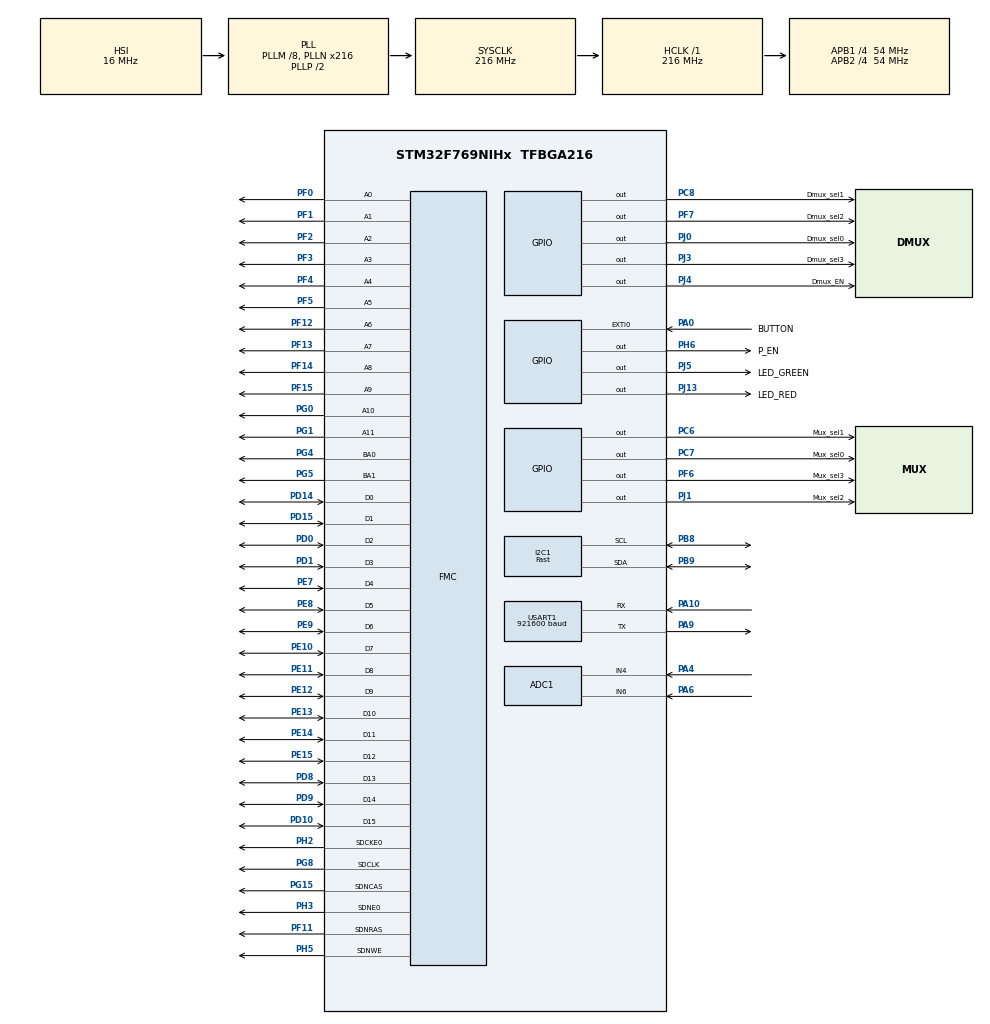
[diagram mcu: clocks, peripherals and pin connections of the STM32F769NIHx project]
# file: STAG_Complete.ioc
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SH.FMC_D7_DA7.0=FMC_D7,sd-16b-d1
STMicroelectronics.X-CUBE-AI.5.0.0.ModelName-4a777269b15ae735e5917de376a15997c86f35e3944f2cdbd16dda3ebaa704af=network
FMC.RCDDelay1=2
NVIC.I2C1_EV_IRQn=true\:4\:1\:true\:false\:true\:true\:true
FMC.SDClockPeriod1=FMC_SDRAM_CLOCK_PERIOD_2
I2C1.I2C_Speed_Mode=I2C_Fast
SH.FMC_A0.0=FMC_A0,12b-sda1
PG8.Signal=FMC_SDCLK
PG4.Signal=FMC_A14_BA0
STMicroelectronics.X-CUBE-AI.5.0.0.NNModelInformation_ModelSize-4a777269b15ae735e5917de376a15997c86f35e3944f2cdbd16dda3ebaa704af=175940
PH6.GPIO_Label=P_EN
PG0.Signal=FMC_A10
FMC.LoadToActiveDelay1=2
CORTEX_M7.PREFETCH_ENABLE=1
PC6.GPIO_Label=Mux_sel1
SH.FMC_D5_DA5.0=FMC_D5,sd-16b-d1
STMicroelectronics.X-CUBE-AI.5.0.0.ModelType-4a777269b15ae735e5917de376a15997c86f35e3944f2cdbd16dda3ebaa704af=Saved model
PF6.GPIO_Label=Mux_sel3
STMicroelectronics.X-CUBE-AI.5.0.0.ModelActualCompression-4a777269b15ae735e5917de376a15997c86f35e3944f2cdbd16dda3ebaa704af=0.0
RCC.SYSCLKSource=RCC_SYSCLKSOURCE_PLLCLK
SH.FMC_A15_BA1.0=FMC_BA1,FourSdramBanks1
SH.FMC_D9_DA9.0=FMC_D9,sd-16b-d1
STMicroelectronics.X-CUBE-AI.5.0.0.StackSize=0x4000
PJ13.GPIO_Label=LED_RED
PH5.Signal=FMC_SDNWE
PF7.Signal=GPIO_Output
SH.FMC_SDNWE.0=FMC_SDNWE,12b-sda1
SH.FMC_D11_DA11.0=FMC_D11,sd-16b-d1
RCC.APB2TimFreq_Value=108000000
PC7.Signal=GPIO_Output
PH1/OSC_OUT.Signal=RCC_OSC_OUT
PD0.Signal=FMC_D2_DA2
PD8.Signal=FMC_D13_DA13
STMicroelectronics.X-CUBE-AI.5.0.0.InternalRamActivationBufferMaxSize=AI_NETWORK_DATA_ACTIVATIONS_SIZE
STMicroelectronics.X-CUBE-AI.5.0.0.NNModelInformation_ModelMacc-4a777269b15ae735e5917de376a15997c86f35e3944f2cdbd16dda3ebaa704af=4761904
STMicroelectronics.X-CUBE-AI.5.0.0.WorkingBufferStartAddrList=0xFFFFFFFF
ADC1.ScanConvMode=ADC_SCAN_ENABLE
FMC.SelfRefreshTime1=4
PE9.Signal=FMC_D6_DA6
SH.FMC_A2.0=FMC_A2,12b-sda1
SH.FMC_D1_DA1.0=FMC_D1,sd-16b-d1
PF3.Signal=FMC_A3
NVIC.I2C1_ER_IRQn=true\:4\:0\:true\:false\:true\:true\:true
PE10.Signal=FMC_D7_DA7
ADC1.SamplingTime-0\#ChannelRegularConversion=ADC_SAMPLETIME_112CYCLES
STMicroelectronics.X-CUBE-AI.5.0.0.ValidationOutputFileHistory-4a777269b15ae735e5917de376a15997c86f35e3944f2cdbd16dda3ebaa704af=/home/fabian/Documents/Master_thesis/C_Code/validation_data/label2_small.csv,/home/fabian/Documents/Master_thesis/C_Code/validation_data/real_labels.csv
Mcu.Package=TFBGA216
PB9.Signal=I2C1_SDA
STMicroelectronics.X-CUBE-AI.5.0.0.MaximumSizeOfInputLayer=4096
PJ4.Signal=GPIO_Output
PA10.Signal=USART1_RX
TIM7.AutoReloadPreload=TIM_AUTORELOAD_PRELOAD_ENABLE
FMC.WriteRecoveryTime1=2
SH.FMC_A1.0=FMC_A1,12b-sda1
PH2.Signal=FMC_SDCKE0
RCC.APB2CLKDivider=RCC_HCLK_DIV4
SH.FMC_SDCLK.0=FMC_SDCLK,12b-sda1
PF14.Signal=FMC_A8
RCC.APB1TimFreq_Value=108000000
FMC.RowCycleDelay1=6
NVIC.USART1_IRQn=true\:3\:0\:true\:false\:true\:true\:true
PD15.Signal=FMC_D1_DA1
SH.FMC_D3_DA3.0=FMC_D3,sd-16b-d1
PJ1.GPIO_Label=Mux_sel2
SH.FMC_A4.0=FMC_A4,12b-sda1
ADC1.Rank-0\#ChannelRegularConversion=1
SH.ADCx_IN6.0=ADC1_IN6,IN6
PG5.Signal=FMC_A15_BA1
SH.FMC_D10_DA10.0=FMC_D10,sd-16b-d1
STMicroelectronics.X-CUBE-AI.5.0.0.XAaCUBEAaAICcArtificialOoIntelligenceJjCore=true
STMicroelectronics.X-CUBE-AI.5.0.0.ModelKind-4a777269b15ae735e5917de376a15997c86f35e3944f2cdbd16dda3ebaa704af=ONNX
PC6.Signal=GPIO_Output
PD1.Signal=FMC_D3_DA3
RCC.APB1CLKDivider=RCC_HCLK_DIV4
VP_STMicroelectronics.X-CUBE-AI_VS_ArtificialOoIntelligenceJjXAaCUBEAaAI_5.0.0.Mode=ArtificialOoIntelligenceJjXAaCUBEAaAI
PD10.Signal=FMC_D15_DA15
SH.FMC_A3.0=FMC_A3,12b-sda1
PJ3.Signal=GPIO_Output
FMC.CASLatency1=FMC_SDRAM_CAS_LATENCY_2
SH.FMC_D15_DA15.0=FMC_D15,sd-16b-d1
CORTEX_M7.ART_ACCLERATOR_ENABLE=1
PA9.Signal=USART1_TX
STMicroelectronics.X-CUBE-AI.5.0.0.NNModelInformation_AchievedCompression-4a777269b15ae735e5917de376a15997c86f35e3944f2cdbd16dda3ebaa704af=0.0
I2C1.Timing=0x6000030D
PJ4.GPIO_Label=Dmux_EN
SH.FMC_A6.0=FMC_A6,12b-sda1
PE14.Signal=FMC_D11_DA11
PE15.Signal=FMC_D12_DA12
STMicroelectronics.X-CUBE-AI.5.0.0.NNModelInformation_CompressionFactor-4a777269b15ae735e5917de376a15997c86f35e3944f2cdbd16dda3ebaa704af=0.0
PE8.Signal=FMC_D5_DA5
PA0/WKUP.GPIO_Label=BUTTON
STMicroelectronics.X-CUBE-AI.5.0.0.ModelCompression-4a777269b15ae735e5917de376a15997c86f35e3944f2cdbd16dda3ebaa704af=1
SH.ADCx_IN4.0=ADC1_IN4,IN4
PF13.Signal=FMC_A7
SH.FMC_SDNCAS.0=FMC_SDNCAS,12b-sda1
PC7.GPIO_Label=Mux_sel0
ADC1.SamplingTime-1\#ChannelRegularConversion=ADC_SAMPLETIME_112CYCLES
PA4.Signal=ADCx_IN4
ADC1.master=1
ADC1.Rank-1\#ChannelRegularConversion=2
SH.FMC_A5.0=FMC_A5,12b-sda1
PJ0.GPIO_Label=Dmux_sel0
ProjectManager.HeapSize=0x2000
PH6.Signal=GPIO_Output
VP_STMicroelectronics.X-CUBE-AI_VS_ArtificialOoIntelligenceJjApplication_5.0.0.Mode=ArtificialOoIntelligenceJjApplication
NVIC.PriorityGroup=NVIC_PRIORITYGROUP_3
STMicroelectronics.X-CUBE-AI.5.0.0.ModelHashList=4a777269b15ae735e5917de376a15997c86f35e3944f2cdbd16dda3ebaa704af
PB8.Mode=I2C
PF4.Signal=FMC_A4
STMicroelectronics.X-CUBE-AI.5.0.0.ModelNameList=network
Mcu.Family=STM32F7
STMicroelectronics.X-CUBE-AI.5.0.0.ModelMacc-4a777269b15ae735e5917de376a15997c86f35e3944f2cdbd16dda3ebaa704af=4761904
SH.FMC_A8.0=FMC_A8,12b-sda1
RCC.CortexFreq_Value=216000000
SH.FMC_D14_DA14.0=FMC_D14,sd-16b-d1
STMicroelectronics.X-CUBE-AI.5.0.0.ModelFlashOccupation-4a777269b15ae735e5917de376a15997c86f35e3944f2cdbd16dda3ebaa704af=175940
USART1.BaudRate=921600
SH.FMC_D6_DA6.0=FMC_D6,sd-16b-d1
PA0/WKUP.Signal=GPXTI0
SH.FMC_A14_BA0.0=FMC_BA0,FourSdramBanks1
SH.FMC_A11.0=FMC_A11,12b-sda1
PG15.Signal=FMC_SDNCAS
PJ5.GPIO_Label=LED_GREEN
ProjectManager.StackSize=0x4000
PH3.Mode=SdramChipSelect1_1
VP_TIM7_VS_ClockSourceINT.Mode=Enable_Timer
NVIC.ADC_IRQn=true\:2\:1\:true\:false\:true\:true\:true
SH.FMC_A7.0=FMC_A7,12b-sda1
PH0/OSC_IN.Mode=HSE-External-Oscillator
RCC.HCLKFreq_Value=216000000
PF12.Signal=FMC_A6
TIM7.Period=1349
STMicroelectronics.X-CUBE-AI.5.0.0.ModelStructureFile-4a777269b15ae735e5917de376a15997c86f35e3944f2cdbd16dda3ebaa704af=/home/fabian/Documents/Master_thesis/Python_Code/models/onnx/final_model.onnx
SH.FMC_A10.0=FMC_A10,12b-sda1
RCC.AHBFreq_Value=216000000
ADC1.Channel-0\#ChannelRegularConversion=ADC_CHANNEL_4
RCC.HSE_VALUE=25000000
SH.FMC_D8_DA8.0=FMC_D8,sd-16b-d1
FMC.ExitSelfRefreshDelay1=6
FMC.RPDelay1=2
STMicroelectronics.X-CUBE-AI.5.0.0.NNModelInformation_NbOfParameters-4a777269b15ae735e5917de376a15997c86f35e3944f2cdbd16dda3ebaa704af=43985
STMicroelectronics.X-CUBE-AI.5.0.0.NNModelInformation_ModelRam-4a777269b15ae735e5917de376a15997c86f35e3944f2cdbd16dda3ebaa704af=49152
STMicroelectronics.X-CUBE-AI.5.0.0.NNModelInformation_ModelRom-4a777269b15ae735e5917de376a15997c86f35e3944f2cdbd16dda3ebaa704af=175940
SH.FMC_D2_DA2.0=FMC_D2,sd-16b-d1
PE13.Signal=FMC_D10_DA10
PF7.GPIO_Label=Dmux_sel2
STMicroelectronics.X-CUBE-AI.5.0.0.LatestDirectoryUsed-4a777269b15ae735e5917de376a15997c86f35e3944f2cdbd16dda3ebaa704af=/home/fabian/Documents/Master_thesis/Python_Code/models/onnx
PF11.Signal=FMC_SDNRAS
STMicroelectronics.X-CUBE-AI.5.0.0.NNModelInformation_HeapSizeNeeded-4a777269b15ae735e5917de376a15997c86f35e3944f2cdbd16dda3ebaa704af=3072
TIM6.Period=65535
SH.FMC_SDNRAS.0=FMC_SDNRAS,12b-sda1
PH1/OSC_OUT.Mode=HSE-External-Oscillator
STMicroelectronics.X-CUBE-AI.5.0.0.NNModelInformation_ModelOutSizeByName-4a777269b15ae735e5917de376a15997c86f35e3944f2cdbd16dda3ebaa704af={output\=68}
STMicroelectronics.X-CUBE-AI.5.0.0.MaximumNumberOfInputLayer=1
PA6.Signal=ADCx_IN6
SH.FMC_D0_DA0.0=FMC_D0,sd-16b-d1
SH.FMC_A9.0=FMC_A9,12b-sda1
STMicroelectronics.X-CUBE-AI.5.0.0.ValidationInputFileHistory-4a777269b15ae735e5917de376a15997c86f35e3944f2cdbd16dda3ebaa704af=/home/fabian/Documents/Master_thesis/C_Code/validation_data/data2_small.csv,/home/fabian/Documents/Master_thesis/C_Code/validation_data/real_data.csv,/home/fabian/Documents/Master_thesis/C_Code/validation_data/real_data.csv
SH.FMC_D4_DA4.0=FMC_D4,sd-16b-d1
PJ1.Signal=GPIO_Output
PF5.Signal=FMC_A5
RCC.PLLSAIQ=3
PJ3.GPIO_Label=Dmux_sel3
PF0.Signal=FMC_A0
PE7.Signal=FMC_D4_DA4
PH2.Mode=SdramChipSelect1_1
STMicroelectronics.X-CUBE-AI.5.0.0.MaximumSizeOfOutputLayer=68
NVIC.TIM7_IRQn=true\:1\:1\:true\:false\:true\:true\:true
CORTEX_M7.CPU_ICache=Enabled
STMicroelectronics.X-CUBE-AI.5.0.0.HeapSize=0x2000
PA10.Mode=Asynchronous
PG1.Signal=FMC_A11
STMicroelectronics.X-CUBE-AI.5.0.0.MaximumNumberOfOutputLayer=1
STMicroelectronics.X-CUBE-AI.5.0.0.ModelRamOccupation-4a777269b15ae735e5917de376a15997c86f35e3944f2cdbd16dda3ebaa704af=49152
PC8.Signal=GPIO_Output
TIM6.Prescaler=107
VP_TIM6_VS_ClockSourceINT.Mode=Enable_Timer
ADC1.DiscontinuousConvMode=ENABLE
PD9.Signal=FMC_D14_DA14
STMicroelectronics.X-CUBE-AI.5.0.0.NNModelInformation_EvaluationStatus-4a777269b15ae735e5917de376a15997c86f35e3944f2cdbd16dda3ebaa704af=NOT EVALUATED
PC8.GPIO_Label=Dmux_sel1
USART1.VirtualMode-Asynchronous=VM_ASYNC
TIM6.AutoReloadPreload=TIM_AUTORELOAD_PRELOAD_ENABLE
PA9.Mode=Asynchronous
PF6.Signal=GPIO_Output
ProjectManager.TargetToolchain=Makefile
SH.FMC_D13_DA13.0=FMC_D13,sd-16b-d1
PB9.Mode=I2C
ADC1.Channel-1\#ChannelRegularConversion=ADC_CHANNEL_6
PF2.Signal=FMC_A2
STMicroelectronics.X-CUBE-AI.5.0.0.ApplicationCcArtificialOoIntelligenceJjApplication=ApplicationTemplate
RCC.USBFreq_Value=108000000
PE11.Signal=FMC_D8_DA8
RCC.LSE_VALUE=32768
TIM7.Prescaler=9999
board=STM32F769I-DISC1
RCC.VCOOutputFreq_Value=432000000
ADC1.NbrOfDiscConversion=2
PH0/OSC_IN.Signal=RCC_OSC_IN
RCC.APB2Freq_Value=54000000
SH.FMC_D12_DA12.0=FMC_D12,sd-16b-d1
PF15.Signal=FMC_A9
STMicroelectronics.X-CUBE-AI.5.0.0.ActivationBufferSizeList=49152
PF1.Signal=FMC_A1
ADC1.NbrOfConversion=2
PJ0.Signal=GPIO_Output
Mcu.Name=STM32F769NIHx
PE12.Signal=FMC_D9_DA9
PD14.Signal=FMC_D0_DA0
STMicroelectronics.X-CUBE-AI.5.0.0.NNModelInformation_ModelInSizeByName-4a777269b15ae735e5917de376a15997c86f35e3944f2cdbd16dda3ebaa704af={input\=4096}
NVIC.EXTI0_IRQn=true\:2\:0\:true\:false\:true\:true\:true
RCC.SYSCLKFreq_VALUE=216000000
USART1.OverSampling=UART_OVERSAMPLING_8
PJ5.Signal=GPIO_Output
RCC.HSI_VALUE=16000000
RCC.PLLQ=4
ADC1.NbrOfConversionFlag=1
PH3.Signal=FMC_SDNE0
RCC.PLLM=8
RCC.PLLN=216
PB8.Signal=I2C1_SCL
STMicroelectronics.X-CUBE-AI.5.0.0.NNModelInformation_ModelName-4a777269b15ae735e5917de376a15997c86f35e3944f2cdbd16dda3ebaa704af=network
CORTEX_M7.CPU_DCache=Enabled
RCC.APB1Freq_Value=54000000
VP_CRC_VS_CRC.Mode=CRC_Activate
PJ13.Signal=GPIO_Output

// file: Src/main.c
/* USER CODE BEGIN Header */
/**
  ******************************************************************************
  * @file           : main.c
  * @brief          : Main program body
  ******************************************************************************
  * @attention
  *
  * <h2><center>&copy; Copyright (c) 2020 STMicroelectronics.
  * All rights reserved.</center></h2>
  *
  * This software component is licensed by ST under Ultimate Liberty license
  * SLA0044, the "License"; You may not use this file except in compliance with
  * the License. You may obtain a copy of the License at:
  *                             www.st.com/SLA0044
  *
  ******************************************************************************
  */
/* USER CODE END Header */

#include "main.h"
#include "app_x-cube-ai.h"

/* USER CODE BEGIN Includes */
#include "readout_driver.h"
#include "MPU9250.h"

// needed to retarget stdio
#include <stdio.h>
#include <errno.h>
#include <sys/unistd.h>

#include <stdbool.h>
/* USER CODE END Includes */

CRC_HandleTypeDef hcrc;

TIM_HandleTypeDef htim7;

UART_HandleTypeDef huart1;

SDRAM_HandleTypeDef hsdram1;

/* USER CODE BEGIN PV */
uint16_t tactileData[DATA_SIZE];
volatile bool collect_data = false;
volatile bool button = false;
HAL_StatusTypeDef status;

//uint16_t pre_tick;
uint16_t post_tick;

FMC_SDRAM_CommandTypeDef command;

uint16_t frame_count = 0;

float accData[3];
float magData[3];
float gyroData[3];

ai_float tactileData_scaled[DATA_SIZE];
const uint16_t tactile_shift = 1500;
const float tactile_scale = 1/(2000.0 - 1500.0);
uint8_t pred_class;

char class_names[17][15] =  {
                              //"Allen key set ",
                              "Ball          ",
                              "Battery       ",
                              //"Board eraser  ",
                              "Bracket       ",
                              //"Brain         ",
                              //"Cat           ",
                              //"Chain         ",
                              //"Clip          ",
                              "Coin          ",
                              "Empty can     ",
                              "Empty hand    ",
                              "Full can      ",
                              "Gel           ",
                              //"Kiwano        ",
                              "Lotion        ",
                              "Mug           ",
                              //"Multimeter    ",
                              "Pen           ",
                              "Safety glasses",
                              "Scissors      ",
                              "Screwdriver   ",
                              //"Spoon         ",
                              "Spray can     ",
                              "Stapler       ",
                              "Tape          ",
                              //"Teabox        "
                            };
/* USER CODE END PV */

void SystemClock_Config(void);
static void MX_GPIO_Init(void);
static void MX_ADC1_Init(void);
static void MX_USART1_UART_Init(void);
static void MX_FMC_Init(void);
static void MX_I2C1_Init(void);
static void MX_TIM6_Init(void);
static void MX_TIM7_Init(void);
static void MX_CRC_Init(void);
/* USER CODE BEGIN PFP */
void HAL_GPIO_EXTI_Callback(uint16_t GPIO_Pin);
void HAL_TIM_PeriodElapsedCallback(TIM_HandleTypeDef *htim);
int _write(int fd, char *buff, int count);
static void BSP_SDRAM_Initialization_Sequence(SDRAM_HandleTypeDef *hsdram, FMC_SDRAM_CommandTypeDef *Command);
/* USER CODE END PFP */

int main(void)
{

  /* Enable I-Cache---------------------------------------------------------*/
  SCB_EnableICache();

  /* Enable D-Cache---------------------------------------------------------*/
  SCB_EnableDCache();

  /* MCU Configuration--------------------------------------------------------*/

  /* Reset of all peripherals, Initializes the Flash interface and the Systick. */
  HAL_Init();

  /* Configure the system clock */
  SystemClock_Config();

  /* Initialize all configured peripherals */
  MX_GPIO_Init();
  MX_ADC1_Init();
  MX_USART1_UART_Init();
  MX_FMC_Init();
  MX_I2C1_Init();
  MX_TIM6_Init();
  MX_TIM7_Init();
  MX_CRC_Init();
  MX_X_CUBE_AI_Init();
  /* USER CODE BEGIN 2 */
  MPU9250_Init();
  //BSP_SDRAM_Initialization_Sequence(&hsdram1, &command);
  HAL_TIM_Base_Start(&htim6);
  //HAL_TIM_Base_Start(&htim7);
  /* USER CODE END 2 */

  /* Infinite loop */
  /* USER CODE BEGIN WHILE */
  while (1)
  {
    if (collect_data)
    {
      //__HAL_TIM_SET_COUNTER(&htim7, 0);
      status = MPU9250_GetData_Phys(accData, magData, gyroData);
      if (status != HAL_OK)
      {
        Error_Handler();
      }

      __HAL_TIM_SET_COUNTER(&htim6, 0);
      status = Read_Frame(tactileData);
      if (status != HAL_OK)
      {
        Error_Handler();
      }

      /*status = HAL_SDRAM_Write_16b(&hsdram1, (uint32_t *)(SDRAM_BANK_ADDR + frame_count*SDRAM_FRAME_OFFSET), tactileData, DATA_SIZE);
      if (status != HAL_OK)
      {
        Error_Handler();
      }*/
      frame_count++;
      for (int i=0; i<DATA_SIZE; i++)
      {
        ai_float tmp_ = ((float)(tactileData[i] - tactile_shift))*tactile_scale;
        // clip values such that they fall between 0, 1
        tactileData_scaled[i] = AI_CLAMP(tmp_, 0.0, 1.0, ai_float);
      }
      pred_class = MX_X_CUBE_AI_Process(tactileData_scaled);
      printf("Predicted class is: %s\r", class_names[pred_class]);
      fflush(stdout);
      /*post_tick = __HAL_TIM_GET_COUNTER(&htim7);
      printf("Whole loop took %3.1f milliseconds.\n", ((float)(post_tick)*0.092592593));*/
      collect_data = false;
    }
    /* USER CODE END WHILE */

  }
}

void SystemClock_Config(void)
{
  RCC_OscInitTypeDef RCC_OscInitStruct = {0};
  RCC_ClkInitTypeDef RCC_ClkInitStruct = {0};
  RCC_PeriphCLKInitTypeDef PeriphClkInitStruct = {0};

  /** Configure the main internal regulator output voltage
  */
  __HAL_RCC_PWR_CLK_ENABLE();
  __HAL_PWR_VOLTAGESCALING_CONFIG(PWR_REGULATOR_VOLTAGE_SCALE1);
  /** Initializes the CPU, AHB and APB busses clocks
  */
  RCC_OscInitStruct.OscillatorType = RCC_OSCILLATORTYPE_HSI;
  RCC_OscInitStruct.HSIState = RCC_HSI_ON;
  RCC_OscInitStruct.HSICalibrationValue = RCC_HSICALIBRATION_DEFAULT;
  RCC_OscInitStruct.PLL.PLLState = RCC_PLL_ON;
  RCC_OscInitStruct.PLL.PLLSource = RCC_PLLSOURCE_HSI;
  RCC_OscInitStruct.PLL.PLLM = 8;
  RCC_OscInitStruct.PLL.PLLN = 216;
  RCC_OscInitStruct.PLL.PLLP = RCC_PLLP_DIV2;
  RCC_OscInitStruct.PLL.PLLQ = 4;
  if (HAL_RCC_OscConfig(&RCC_OscInitStruct) != HAL_OK)
  {
    Error_Handler();
  }
  /** Activate the Over-Drive mode
  */
  if (HAL_PWREx_EnableOverDrive() != HAL_OK)
  {
    Error_Handler();
  }
  /** Initializes the CPU, AHB and APB busses clocks
  */
  RCC_ClkInitStruct.ClockType = RCC_CLOCKTYPE_HCLK|RCC_CLOCKTYPE_SYSCLK
                              |RCC_CLOCKTYPE_PCLK1|RCC_CLOCKTYPE_PCLK2;
  RCC_ClkInitStruct.SYSCLKSource = RCC_SYSCLKSOURCE_PLLCLK;
  RCC_ClkInitStruct.AHBCLKDivider = RCC_SYSCLK_DIV1;
  RCC_ClkInitStruct.APB1CLKDivider = RCC_HCLK_DIV4;
  RCC_ClkInitStruct.APB2CLKDivider = RCC_HCLK_DIV4;

  if (HAL_RCC_ClockConfig(&RCC_ClkInitStruct, FLASH_LATENCY_7) != HAL_OK)
  {
    Error_Handler();
  }
  PeriphClkInitStruct.PeriphClockSelection = RCC_PERIPHCLK_USART1|RCC_PERIPHCLK_I2C1;
  PeriphClkInitStruct.Usart1ClockSelection = RCC_USART1CLKSOURCE_PCLK2;
  PeriphClkInitStruct.I2c1ClockSelection = RCC_I2C1CLKSOURCE_PCLK1;
  if (HAL_RCCEx_PeriphCLKConfig(&PeriphClkInitStruct) != HAL_OK)
  {
    Error_Handler();
  }
}

static void MX_ADC1_Init(void)
{

  ADC_ChannelConfTypeDef sConfig = {0};

  /** Configure the global features of the ADC (Clock, Resolution, Data Alignment and number of conversion)
  */
  hadc1.Instance = ADC1;
  hadc1.Init.ClockPrescaler = ADC_CLOCK_SYNC_PCLK_DIV2;
  hadc1.Init.Resolution = ADC_RESOLUTION_12B;
  hadc1.Init.ScanConvMode = ADC_SCAN_ENABLE;
  hadc1.Init.ContinuousConvMode = DISABLE;
  hadc1.Init.DiscontinuousConvMode = ENABLE;
  hadc1.Init.NbrOfDiscConversion = 2;
  hadc1.Init.ExternalTrigConvEdge = ADC_EXTERNALTRIGCONVEDGE_NONE;
  hadc1.Init.ExternalTrigConv = ADC_SOFTWARE_START;
  hadc1.Init.DataAlign = ADC_DATAALIGN_RIGHT;
  hadc1.Init.NbrOfConversion = 2;
  hadc1.Init.DMAContinuousRequests = DISABLE;
  hadc1.Init.EOCSelection = ADC_EOC_SINGLE_CONV;
  if (HAL_ADC_Init(&hadc1) != HAL_OK)
  {
    Error_Handler();
  }
  /** Configure for the selected ADC regular channel its corresponding rank in the sequencer and its sample time.
  */
  sConfig.Channel = ADC_CHANNEL_4;
  sConfig.Rank = ADC_REGULAR_RANK_1;
  sConfig.SamplingTime = ADC_SAMPLETIME_112CYCLES;
  if (HAL_ADC_ConfigChannel(&hadc1, &sConfig) != HAL_OK)
  {
    Error_Handler();
  }
  /** Configure for the selected ADC regular channel its corresponding rank in the sequencer and its sample time.
  */
  sConfig.Channel = ADC_CHANNEL_6;
  sConfig.Rank = ADC_REGULAR_RANK_2;
  if (HAL_ADC_ConfigChannel(&hadc1, &sConfig) != HAL_OK)
  {
    Error_Handler();
  }

}

static void MX_CRC_Init(void)
{

  hcrc.Instance = CRC;
  hcrc.Init.DefaultPolynomialUse = DEFAULT_POLYNOMIAL_ENABLE;
  hcrc.Init.DefaultInitValueUse = DEFAULT_INIT_VALUE_ENABLE;
  hcrc.Init.InputDataInversionMode = CRC_INPUTDATA_INVERSION_NONE;
  hcrc.Init.OutputDataInversionMode = CRC_OUTPUTDATA_INVERSION_DISABLE;
  hcrc.InputDataFormat = CRC_INPUTDATA_FORMAT_BYTES;
  if (HAL_CRC_Init(&hcrc) != HAL_OK)
  {
    Error_Handler();
  }

}

static void MX_I2C1_Init(void)
{

  hi2c1.Instance = I2C1;
  hi2c1.Init.Timing = 0x6000030D;
  hi2c1.Init.OwnAddress1 = 0;
  hi2c1.Init.AddressingMode = I2C_ADDRESSINGMODE_7BIT;
  hi2c1.Init.DualAddressMode = I2C_DUALADDRESS_DISABLE;
  hi2c1.Init.OwnAddress2 = 0;
  hi2c1.Init.OwnAddress2Masks = I2C_OA2_NOMASK;
  hi2c1.Init.GeneralCallMode = I2C_GENERALCALL_DISABLE;
  hi2c1.Init.NoStretchMode = I2C_NOSTRETCH_DISABLE;
  if (HAL_I2C_Init(&hi2c1) != HAL_OK)
  {
    Error_Handler();
  }
  /** Configure Analogue filter
  */
  if (HAL_I2CEx_ConfigAnalogFilter(&hi2c1, I2C_ANALOGFILTER_ENABLE) != HAL_OK)
  {
    Error_Handler();
  }
  /** Configure Digital filter
  */
  if (HAL_I2CEx_ConfigDigitalFilter(&hi2c1, 0) != HAL_OK)
  {
    Error_Handler();
  }

}

static void MX_TIM6_Init(void)
{

  TIM_MasterConfigTypeDef sMasterConfig = {0};

  htim6.Instance = TIM6;
  htim6.Init.Prescaler = 107;
  htim6.Init.CounterMode = TIM_COUNTERMODE_UP;
  htim6.Init.Period = 65535;
  htim6.Init.AutoReloadPreload = TIM_AUTORELOAD_PRELOAD_ENABLE;
  if (HAL_TIM_Base_Init(&htim6) != HAL_OK)
  {
    Error_Handler();
  }
  sMasterConfig.MasterOutputTrigger = TIM_TRGO_RESET;
  sMasterConfig.MasterSlaveMode = TIM_MASTERSLAVEMODE_DISABLE;
  if (HAL_TIMEx_MasterConfigSynchronization(&htim6, &sMasterConfig) != HAL_OK)
  {
    Error_Handler();
  }

}

static void MX_TIM7_Init(void)
{

  TIM_MasterConfigTypeDef sMasterConfig = {0};

  htim7.Instance = TIM7;
  htim7.Init.Prescaler = 9999;
  htim7.Init.CounterMode = TIM_COUNTERMODE_UP;
  htim7.Init.Period = 1349;
  htim7.Init.AutoReloadPreload = TIM_AUTORELOAD_PRELOAD_ENABLE;
  if (HAL_TIM_Base_Init(&htim7) != HAL_OK)
  {
    Error_Handler();
  }
  sMasterConfig.MasterOutputTrigger = TIM_TRGO_RESET;
  sMasterConfig.MasterSlaveMode = TIM_MASTERSLAVEMODE_DISABLE;
  if (HAL_TIMEx_MasterConfigSynchronization(&htim7, &sMasterConfig) != HAL_OK)
  {
    Error_Handler();
  }

}

static void MX_USART1_UART_Init(void)
{

  huart1.Instance = USART1;
  huart1.Init.BaudRate = 921600;
  huart1.Init.WordLength = UART_WORDLENGTH_8B;
  huart1.Init.StopBits = UART_STOPBITS_1;
  huart1.Init.Parity = UART_PARITY_NONE;
  huart1.Init.Mode = UART_MODE_TX_RX;
  huart1.Init.HwFlowCtl = UART_HWCONTROL_NONE;
  huart1.Init.OverSampling = UART_OVERSAMPLING_8;
  huart1.Init.OneBitSampling = UART_ONE_BIT_SAMPLE_DISABLE;
  huart1.AdvancedInit.AdvFeatureInit = UART_ADVFEATURE_NO_INIT;
  if (HAL_UART_Init(&huart1) != HAL_OK)
  {
    Error_Handler();
  }

}

/* FMC initialization function */
static void MX_FMC_Init(void)
{

  FMC_SDRAM_TimingTypeDef SdramTiming = {0};

  /** Perform the SDRAM1 memory initialization sequence
  */
  hsdram1.Instance = FMC_SDRAM_DEVICE;
  /* hsdram1.Init */
  hsdram1.Init.SDBank = FMC_SDRAM_BANK1;
  hsdram1.Init.ColumnBitsNumber = FMC_SDRAM_COLUMN_BITS_NUM_8;
  hsdram1.Init.RowBitsNumber = FMC_SDRAM_ROW_BITS_NUM_12;
  hsdram1.Init.MemoryDataWidth = FMC_SDRAM_MEM_BUS_WIDTH_16;
  hsdram1.Init.InternalBankNumber = FMC_SDRAM_INTERN_BANKS_NUM_4;
  hsdram1.Init.CASLatency = FMC_SDRAM_CAS_LATENCY_2;
  hsdram1.Init.WriteProtection = FMC_SDRAM_WRITE_PROTECTION_DISABLE;
  hsdram1.Init.SDClockPeriod = FMC_SDRAM_CLOCK_PERIOD_2;
  hsdram1.Init.ReadBurst = FMC_SDRAM_RBURST_DISABLE;
  hsdram1.Init.ReadPipeDelay = FMC_SDRAM_RPIPE_DELAY_0;
  /* SdramTiming */
  SdramTiming.LoadToActiveDelay = 2;
  SdramTiming.ExitSelfRefreshDelay = 6;
  SdramTiming.SelfRefreshTime = 4;
  SdramTiming.RowCycleDelay = 6;
  SdramTiming.WriteRecoveryTime = 2;
  SdramTiming.RPDelay = 2;
  SdramTiming.RCDDelay = 2;

  if (HAL_SDRAM_Init(&hsdram1, &SdramTiming) != HAL_OK)
  {
    Error_Handler( );
  }

}

static void MX_GPIO_Init(void)
{
  GPIO_InitTypeDef GPIO_InitStruct = {0};

  /* GPIO Ports Clock Enable */
  __HAL_RCC_GPIOB_CLK_ENABLE();
  __HAL_RCC_GPIOG_CLK_ENABLE();
  __HAL_RCC_GPIOJ_CLK_ENABLE();
  __HAL_RCC_GPIOD_CLK_ENABLE();
  __HAL_RCC_GPIOF_CLK_ENABLE();
  __HAL_RCC_GPIOA_CLK_ENABLE();
  __HAL_RCC_GPIOH_CLK_ENABLE();
  __HAL_RCC_GPIOC_CLK_ENABLE();
  __HAL_RCC_GPIOE_CLK_ENABLE();

  /*Configure GPIO pin Output Level */
  HAL_GPIO_WritePin(GPIOJ, LED_RED_Pin|Dmux_EN_Pin|LED_GREEN_Pin|Dmux_sel3_Pin
                          |Dmux_sel0_Pin|Mux_sel2_Pin, GPIO_PIN_RESET);

  /*Configure GPIO pin Output Level */
  HAL_GPIO_WritePin(GPIOC, Dmux_sel1_Pin|Mux_sel0_Pin|Mux_sel1_Pin, GPIO_PIN_RESET);

  /*Configure GPIO pin Output Level */
  HAL_GPIO_WritePin(GPIOF, Dmux_sel2_Pin|Mux_sel3_Pin, GPIO_PIN_RESET);

  /*Configure GPIO pin Output Level */
  HAL_GPIO_WritePin(P_EN_GPIO_Port, P_EN_Pin, GPIO_PIN_RESET);

  /*Configure GPIO pins : LED_RED_Pin Dmux_EN_Pin LED_GREEN_Pin Dmux_sel3_Pin
                           Dmux_sel0_Pin Mux_sel2_Pin */
  GPIO_InitStruct.Pin = LED_RED_Pin|Dmux_EN_Pin|LED_GREEN_Pin|Dmux_sel3_Pin
                          |Dmux_sel0_Pin|Mux_sel2_Pin;
  GPIO_InitStruct.Mode = GPIO_MODE_OUTPUT_PP;
  GPIO_InitStruct.Pull = GPIO_NOPULL;
  GPIO_InitStruct.Speed = GPIO_SPEED_FREQ_LOW;
  HAL_GPIO_Init(GPIOJ, &GPIO_InitStruct);

  /*Configure GPIO pins : Dmux_sel1_Pin Mux_sel0_Pin Mux_sel1_Pin */
  GPIO_InitStruct.Pin = Dmux_sel1_Pin|Mux_sel0_Pin|Mux_sel1_Pin;
  GPIO_InitStruct.Mode = GPIO_MODE_OUTPUT_PP;
  GPIO_InitStruct.Pull = GPIO_NOPULL;
  GPIO_InitStruct.Speed = GPIO_SPEED_FREQ_LOW;
  HAL_GPIO_Init(GPIOC, &GPIO_InitStruct);

  /*Configure GPIO pins : Dmux_sel2_Pin Mux_sel3_Pin */
  GPIO_InitStruct.Pin = Dmux_sel2_Pin|Mux_sel3_Pin;
  GPIO_InitStruct.Mode = GPIO_MODE_OUTPUT_PP;
  GPIO_InitStruct.Pull = GPIO_NOPULL;
  GPIO_InitStruct.Speed = GPIO_SPEED_FREQ_LOW;
  HAL_GPIO_Init(GPIOF, &GPIO_InitStruct);

  /*Configure GPIO pin : BUTTON_Pin */
  GPIO_InitStruct.Pin = BUTTON_Pin;
  GPIO_InitStruct.Mode = GPIO_MODE_IT_RISING;
  GPIO_InitStruct.Pull = GPIO_NOPULL;
  HAL_GPIO_Init(BUTTON_GPIO_Port, &GPIO_InitStruct);

  /*Configure GPIO pin : P_EN_Pin */
  GPIO_InitStruct.Pin = P_EN_Pin;
  GPIO_InitStruct.Mode = GPIO_MODE_OUTPUT_PP;
  GPIO_InitStruct.Pull = GPIO_NOPULL;
  GPIO_InitStruct.Speed = GPIO_SPEED_FREQ_LOW;
  HAL_GPIO_Init(P_EN_GPIO_Port, &GPIO_InitStruct);

  /* EXTI interrupt init*/
  HAL_NVIC_SetPriority(EXTI0_IRQn, 2, 0);
  HAL_NVIC_EnableIRQ(EXTI0_IRQn);

}

/* USER CODE BEGIN 4 */
// Retarget stdio
int _write(int fd, char *buff, int count)
{
  if ((count < 0) && (fd != STDOUT_FILENO) && (fd != STDERR_FILENO)) {
      errno = EBADF;
      return -1;
  }

  status = HAL_UART_Transmit(&huart1, (uint8_t *)buff, count, HAL_MAX_DELAY);

  return (status == HAL_OK ? count : 0);
}

void HAL_GPIO_EXTI_Callback(uint16_t GPIO_Pin)
{
  // Toggle data collection
  button = !button;
  if(button)
  {
    //collect_data = true;
    // Enable the reference voltage for the readout circuit
    En_ReadoutCircuit();
    HAL_TIM_Base_Start_IT(&htim7);
    HAL_GPIO_WritePin(GPIOJ, LED_GREEN_Pin, GPIO_PIN_SET);
  }
  else
  {
    HAL_TIM_Base_Stop_IT(&htim7);
    HAL_GPIO_WritePin(GPIOJ, LED_GREEN_Pin, GPIO_PIN_RESET);
    Dis_ReadoutCircuit();
  }
}

/**
  * @brief  Perform the SDRAM external memory initialization sequence
  * @param  hsdram: SDRAM handle
  * @param  Command: Pointer to SDRAM command structure
  * @retval None
  */
static void BSP_SDRAM_Initialization_Sequence(SDRAM_HandleTypeDef *hsdram, FMC_SDRAM_CommandTypeDef *Command)
{
  __IO uint32_t tmpmrd =0;
  /* Step 3:  Configure a clock configuration enable command */
  Command->CommandMode = FMC_SDRAM_CMD_CLK_ENABLE;
  Command->CommandTarget = FMC_SDRAM_CMD_TARGET_BANK1;
  Command->AutoRefreshNumber = 1;
  Command->ModeRegisterDefinition = 0;

  /* Send the command */
  HAL_SDRAM_SendCommand(hsdram, Command, SDRAM_TIMEOUT);

  /* Step 4: Insert 100 us minimum delay */
  /* Inserted delay is equal to 1 ms due to systick time base unit (ms) */
  HAL_Delay(1);

  /* Step 5: Configure a PALL (precharge all) command */
  Command->CommandMode = FMC_SDRAM_CMD_PALL;
  Command->CommandTarget = FMC_SDRAM_CMD_TARGET_BANK1;
  Command->AutoRefreshNumber = 1;
  Command->ModeRegisterDefinition = 0;

  /* Send the command */
  HAL_SDRAM_SendCommand(hsdram, Command, SDRAM_TIMEOUT);

  /* Step 6 : Configure a Auto-Refresh command */
  Command->CommandMode = FMC_SDRAM_CMD_AUTOREFRESH_MODE;
  Command->CommandTarget = FMC_SDRAM_CMD_TARGET_BANK1;
  Command->AutoRefreshNumber = 8;
  Command->ModeRegisterDefinition = 0;

  /* Send the command */
  HAL_SDRAM_SendCommand(hsdram, Command, SDRAM_TIMEOUT);

  /* Step 7: Program the external memory mode register */
  tmpmrd = (uint32_t)SDRAM_MODEREG_BURST_LENGTH_1          |
                     SDRAM_MODEREG_BURST_TYPE_SEQUENTIAL   |
                     SDRAM_MODEREG_CAS_LATENCY_2           |
                     SDRAM_MODEREG_OPERATING_MODE_STANDARD |
                     SDRAM_MODEREG_WRITEBURST_MODE_SINGLE;

  Command->CommandMode = FMC_SDRAM_CMD_LOAD_MODE;
  Command->CommandTarget = FMC_SDRAM_CMD_TARGET_BANK1;
  Command->AutoRefreshNumber = 1;
  Command->ModeRegisterDefinition = tmpmrd;

  /* Send the command */
  HAL_SDRAM_SendCommand(hsdram, Command, SDRAM_TIMEOUT);

  /* Step 8: Set the refresh rate counter */
  /* (15.62 us x Freq) - 20 */
  /* Set the device refresh counter */
  hsdram->Instance->SDRTR |= ((uint32_t)((1292)<< 1));
}

void HAL_TIM_PeriodElapsedCallback(TIM_HandleTypeDef *htim)
{
  if (htim->Instance == htim7.Instance)
  {
    collect_data = true;
  }
}
/* USER CODE END 4 */

void Error_Handler(void)
{
}

/************************ (C) COPYRIGHT STMicroelectronics *****END OF FILE****/
